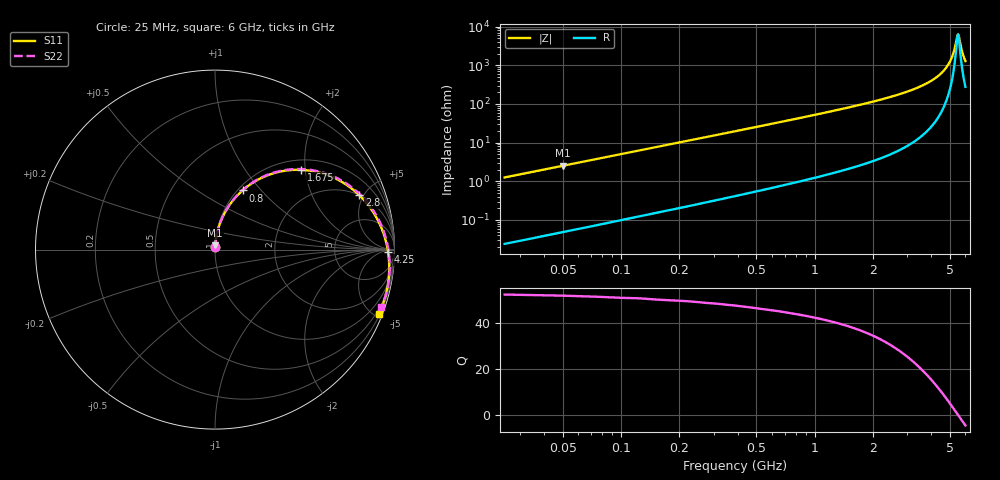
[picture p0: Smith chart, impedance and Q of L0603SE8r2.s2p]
!	AVX	Thin	Film	Operation	Date:	2004
!	Description:	"Series,"	Thin	"Film,"	"LGA,"	RF	Inductors
!	Part	Number:	L06038r2nH
!	25	MHz	-	6	GHz
!	Serial	Measurements
#	mhz	S	db	R	50
!	S11	S11	S21	S21	S12	S12	S22	S22
!	dB	Phase	dB	Phase	dB	Phase	dB	Phase
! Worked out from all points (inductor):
!   240 points, 25 MHz to 6 GHz, reference 50 ohm
!   read as one part in series: L = 8.02 nH near 50 MHz
!   highest Q = 51.9 at 50 MHz (marker M1), where L = 8.02 nH
!   self-resonance near 5.475 GHz
!   S11 on the Smith chart (normalised r, x): 25 MHz: 1.00, +0.02; 800 MHz: 1.05, +0.80; 1.675 GHz: 1.22, +1.90; 2.8 GHz: 2.01, +4.66; 4.25 GHz: 49, -17; 6 GHz: 0.27, -5.26
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25  -38.41 88.1  -0.00 -0.8  -0.00 -0.8  -38.41 88.1
50  -32.39 87.3  -0.01 -1.5  -0.01 -1.5  -32.39 87.3
75  -28.87 86.6  -0.01 -2.3  -0.01 -2.3  -28.87 86.6
125  -24.44 85.0  -0.03 -3.8  -0.03 -3.8  -24.44 85.1
275  -17.64 80.4  -0.10 -8.3  -0.10 -8.3  -17.64 80.5
500  -12.58 73.7  -0.29 -14.9  -0.29 -14.9  -12.58 73.9
800  -8.78 65.0  -0.70 -23.5  -0.70 -23.5  -8.78 65.3
1025  -6.91 58.8  -1.10 -29.6  -1.10 -29.6  -6.91 59.2
1675  -3.68 42.7  -2.64 -45.4  -2.64 -45.4  -3.68 43.3
2025  -2.67 35.1  -3.67 -52.8  -3.67 -52.8  -2.67 35.8
2800  -1.31 20.6  -6.38 -66.7  -6.38 -66.7  -1.32 21.6
3025  -1.07 16.9  -7.29 -70.2  -7.29 -70.2  -1.07 17.9
4025  -0.40 2.3  -12.44 -83.2  -12.44 -83.2  -0.40 3.7
4250  -0.32 -0.7  -14.00 -85.4  -14.00 -85.4  -0.32 0.8
4700  -0.20 -6.4  -18.09 -88.4  -18.09 -88.4  -0.20 -4.7
5025  -0.16 -10.3  -22.66 -87.3  -22.66 -87.3  -0.16 -8.5
5225  -0.14 -12.7  -27.14 -81.2  -27.14 -81.2  -0.14 -10.7
5450  -0.14 -15.3  -35.35 -39.6  -35.35 -39.6  -0.14 -13.2
5500  -0.14 -15.8  -36.22 -14.4  -36.22 -14.4  -0.14 -13.8
5550  -0.14 -16.4  -35.30 10.4  -35.30 10.4  -0.14 -14.3
5775  -0.15 -19.0  -27.31 51.0  -27.31 51.0  -0.14 -16.8
6000  -0.16 -21.5  -22.62 57.4  -22.62 57.4  -0.16 -19.1
